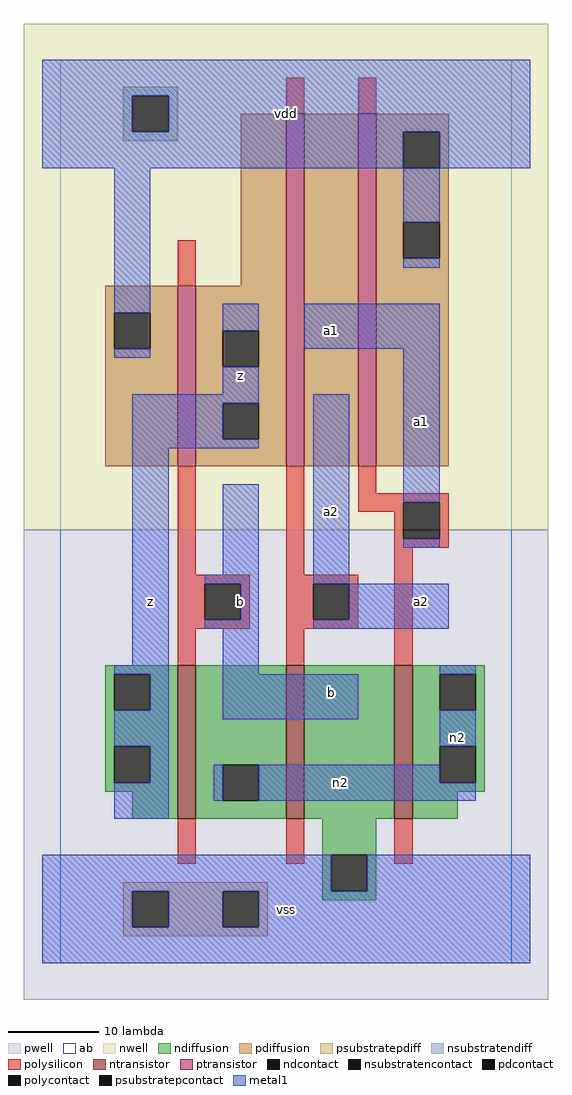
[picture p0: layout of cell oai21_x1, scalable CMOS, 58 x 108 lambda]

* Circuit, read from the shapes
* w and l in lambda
.subckt oai21_x1 a1 a2 b n2 vdd vss z
M1 n2 b z vss nfet w=17 l=2
M2 vss a2 n2 vss nfet w=17 l=2
M3 n2 a1 vss vss nfet w=17 l=2
M4 z b vdd vdd pfet w=20 l=2
M5 n1 a2 z vdd pfet w=39 l=2
M6 vdd a1 n1 vdd pfet w=39 l=2
.ends

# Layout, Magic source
magic
tech scmos
<< ab >>
rect 0 0 50 100
<< pwell >>
rect -4 -4 54 48
<< nwell >>
rect -4 48 54 104
<< polysilicon >>
rect 25 94 27 98
rect 33 94 35 98
rect 13 75 15 80
rect 13 43 15 55
rect 25 43 27 55
rect 33 52 35 55
rect 33 51 43 52
rect 33 50 38 51
rect 37 47 38 50
rect 42 47 43 51
rect 37 46 43 47
rect 13 42 21 43
rect 13 38 16 42
rect 20 38 21 42
rect 13 37 21 38
rect 25 42 33 43
rect 25 38 28 42
rect 32 38 33 42
rect 25 37 33 38
rect 13 33 15 37
rect 25 33 27 37
rect 37 33 39 46
rect 13 11 15 16
rect 25 11 27 16
rect 37 11 39 16
<< ndiffusion >>
rect 5 32 13 33
rect 5 28 6 32
rect 10 28 13 32
rect 5 24 13 28
rect 5 20 6 24
rect 10 20 13 24
rect 5 19 13 20
rect 8 16 13 19
rect 15 22 25 33
rect 15 18 18 22
rect 22 18 25 22
rect 15 16 25 18
rect 27 16 37 33
rect 39 32 47 33
rect 39 28 42 32
rect 46 28 47 32
rect 39 24 47 28
rect 39 20 42 24
rect 46 20 47 24
rect 39 19 47 20
rect 39 16 44 19
rect 29 12 35 16
rect 29 8 30 12
rect 34 8 35 12
rect 29 7 35 8
<< pdiffusion >>
rect 20 75 25 94
rect 5 72 13 75
rect 5 68 6 72
rect 10 68 13 72
rect 5 55 13 68
rect 15 70 25 75
rect 15 66 18 70
rect 22 66 25 70
rect 15 62 25 66
rect 15 58 18 62
rect 22 58 25 62
rect 15 55 25 58
rect 27 55 33 94
rect 35 92 43 94
rect 35 88 38 92
rect 42 88 43 92
rect 35 82 43 88
rect 35 78 38 82
rect 42 78 43 82
rect 35 55 43 78
<< metal1 >>
rect -2 96 52 100
rect -2 92 8 96
rect 12 92 52 96
rect -2 88 38 92
rect 42 88 52 92
rect 6 72 10 88
rect 38 82 42 88
rect 38 77 42 78
rect 6 67 10 68
rect 18 70 22 73
rect 27 68 42 73
rect 18 63 22 66
rect 8 62 22 63
rect 8 58 18 62
rect 8 57 22 58
rect 8 33 12 57
rect 18 43 22 53
rect 16 42 22 43
rect 20 38 22 42
rect 16 37 22 38
rect 28 42 32 63
rect 38 51 42 68
rect 38 46 42 47
rect 32 38 43 42
rect 28 37 43 38
rect 6 32 12 33
rect 10 28 12 32
rect 6 24 12 28
rect 18 32 22 37
rect 42 32 46 33
rect 18 27 33 32
rect 10 20 12 24
rect 42 24 46 28
rect 6 16 12 20
rect 17 18 18 22
rect 22 20 42 22
rect 22 18 46 20
rect -2 8 30 12
rect 34 8 52 12
rect -2 4 8 8
rect 12 4 18 8
rect 22 4 52 8
rect -2 0 52 4
<< ntransistor >>
rect 13 16 15 33
rect 25 16 27 33
rect 37 16 39 33
<< ptransistor >>
rect 13 55 15 75
rect 25 55 27 94
rect 33 55 35 94
<< polycontact >>
rect 38 47 42 51
rect 16 38 20 42
rect 28 38 32 42
<< ndcontact >>
rect 6 28 10 32
rect 6 20 10 24
rect 18 18 22 22
rect 42 28 46 32
rect 42 20 46 24
rect 30 8 34 12
<< pdcontact >>
rect 6 68 10 72
rect 18 66 22 70
rect 18 58 22 62
rect 38 88 42 92
rect 38 78 42 82
<< psubstratepcontact >>
rect 8 4 12 8
rect 18 4 22 8
<< nsubstratencontact >>
rect 8 92 12 96
<< psubstratepdiff >>
rect 7 8 23 9
rect 7 4 8 8
rect 12 4 18 8
rect 22 4 23 8
rect 7 3 23 4
<< nsubstratendiff >>
rect 7 96 13 97
rect 7 92 8 96
rect 12 92 13 96
rect 7 91 13 92
<< labels >>
rlabel metal1 10 40 10 40 6 z
rlabel metal1 20 40 20 40 6 b
rlabel metal1 20 65 20 65 6 z
rlabel metal1 25 6 25 6 6 vss
rlabel metal1 30 30 30 30 6 b
rlabel metal1 30 50 30 50 6 a2
rlabel metal1 30 70 30 70 6 a1
rlabel metal1 25 94 25 94 6 vdd
rlabel metal1 31 20 31 20 6 n2
rlabel metal1 44 25 44 25 6 n2
rlabel metal1 40 40 40 40 6 a2
rlabel metal1 40 60 40 60 6 a1
<< end >>
